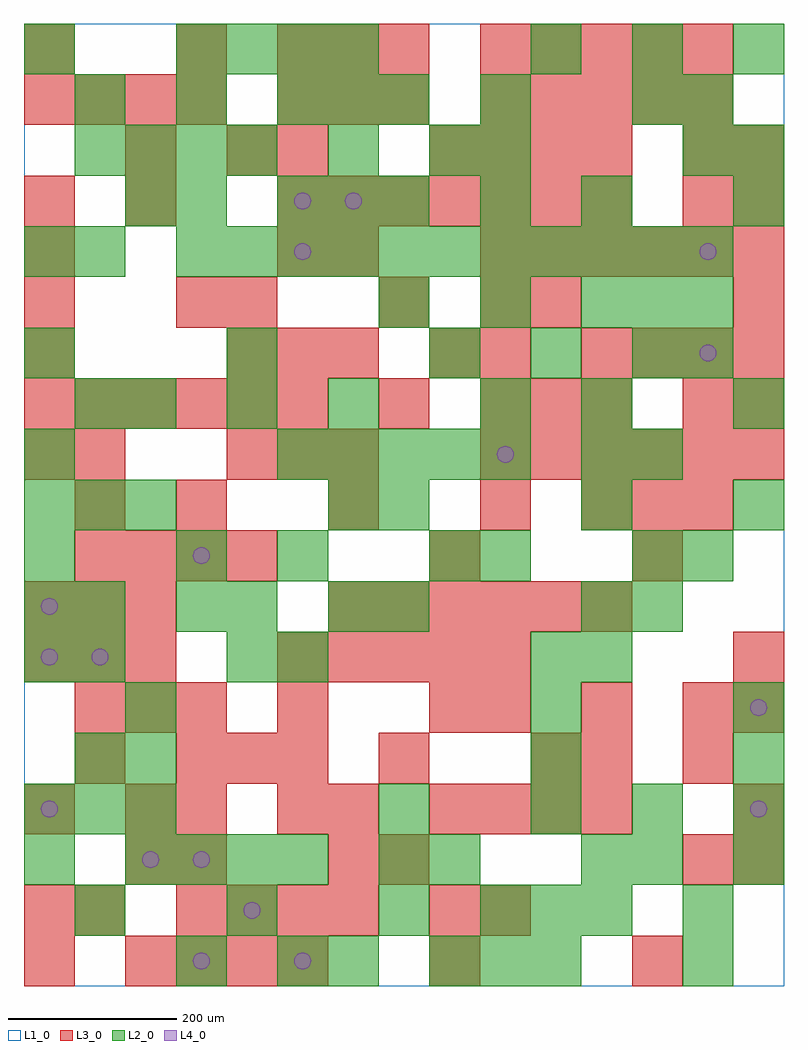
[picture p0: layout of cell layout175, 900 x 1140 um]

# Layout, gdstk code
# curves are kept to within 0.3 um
import gdstk
lib = gdstk.Library(unit=1e-6, precision=1e-09)
def R(c, l, rs):  # rectangles x0, y0, x1, y1
    for r in rs: c.add(gdstk.rectangle(r[:2], r[2:], *l))
def A(c, l, x, y, w, h, nx, ny, dx, dy):  # array of equal rectangles
    R(c, l, [(x+i*dx, y+j*dy, x+i*dx+w, y+j*dy+h) for i in range(nx) for j in range(ny)])
def P(c, l, *ps):  # polygons
    for p in ps: c.add(gdstk.Polygon(p, *l))
L1_0 = (1, 0)
L2_0 = (2, 0)
L3_0 = (3, 0)
L4_0 = (4, 0)

layout175 = lib.new_cell('layout175')
R(layout175, L1_0, [(0,0,900,1140)])
A(layout175, L2_0, 480, 0, 60, 60, 3, 1, 60, 0)
A(layout175, L2_0, 60, 60, 60, 60, 3, 1, 180, 0)
A(layout175, L2_0, 540, 60, 60, 60, 3, 1, 60, 0)
A(layout175, L2_0, 120, 120, 60, 60, 4, 1, 60, 0)
A(layout175, L2_0, 0, 180, 60, 60, 3, 2, 60, 360)
A(layout175, L2_0, 600, 180, 60, 60, 3, 2, 120, 900)
A(layout175, L2_0, 600, 240, 60, 60, 1, 3, 0, 60)
A(layout175, L2_0, 0, 360, 60, 60, 1, 3, 0, 60)
A(layout175, L2_0, 720, 480, 60, 60, 1, 3, 0, 120)
A(layout175, L2_0, 660, 540, 60, 60, 1, 3, 0, 60)
A(layout175, L2_0, 0, 600, 60, 60, 1, 3, 0, 240)
A(layout175, L2_0, 300, 600, 60, 60, 5, 1, 60, 0)
A(layout175, L2_0, 120, 660, 60, 60, 3, 1, 120, 0)
A(layout175, L2_0, 0, 720, 60, 60, 3, 1, 240, 0)
A(layout175, L2_0, 420, 780, 60, 60, 3, 1, 120, 0)
A(layout175, L2_0, 180, 840, 60, 60, 11, 1, 60, 0)
A(layout175, L2_0, 300, 900, 60, 60, 3, 1, 60, 0)
A(layout175, L2_0, 540, 900, 60, 60, 1, 3, 0, 60)
A(layout175, L2_0, 60, 960, 60, 60, 4, 1, 60, 0)
A(layout175, L2_0, 60, 1020, 60, 60, 3, 1, 120, 0)
A(layout175, L2_0, 180, 1080, 60, 60, 4, 1, 60, 0)
R(layout175, L2_0, [(180,0,240,60), (300,0,360,60), (360,0,420,60), (780,0,840,60), (780,60,840,120), (0,120,60,180), (420,120,480,180), (480,120,540,180), (660,120,720,180), (720,120,780,180), (840,120,900,180), (420,180,480,240), (60,240,120,300), (120,240,180,300), (840,240,900,300), (120,300,180,360), (840,300,900,360), (60,360,120,420), (240,360,300,420), (300,360,360,420), (660,360,720,420), (60,420,120,480), (180,420,240,480), (240,420,300,480), (360,420,420,480), (420,420,480,480), (660,420,720,480), (720,420,780,480), (180,480,240,540), (300,480,360,540), (480,480,540,540), (540,480,600,540), (780,480,840,540), (360,540,420,600), (420,540,480,600), (840,540,900,600), (60,660,120,720), (540,660,600,720), (840,660,900,720), (600,720,660,780), (780,720,840,780), (720,780,780,840), (780,780,840,840), (60,840,120,900), (120,900,180,960), (180,900,240,960), (660,900,720,960), (840,900,900,960), (360,960,420,1020), (480,960,540,1020), (780,960,840,1020), (840,960,900,1020), (360,1020,420,1080), (420,1020,480,1080), (720,1020,780,1080), (780,1020,840,1080)])
A(layout175, L3_0, 120, 0, 60, 60, 4, 1, 60, 0)
A(layout175, L3_0, 180, 60, 60, 60, 4, 1, 60, 0)
A(layout175, L3_0, 480, 180, 60, 60, 4, 2, 60, 780)
A(layout175, L3_0, 180, 240, 60, 60, 3, 1, 60, 0)
A(layout175, L3_0, 60, 300, 60, 60, 3, 1, 60, 0)
A(layout175, L3_0, 540, 300, 60, 60, 3, 1, 120, 0)
A(layout175, L3_0, 0, 360, 60, 60, 3, 2, 60, 60)
A(layout175, L3_0, 300, 360, 60, 60, 5, 1, 60, 0)
A(layout175, L3_0, 360, 420, 60, 60, 6, 1, 60, 0)
A(layout175, L3_0, 60, 480, 60, 60, 4, 1, 60, 0)
A(layout175, L3_0, 180, 540, 60, 60, 3, 1, 180, 0)
A(layout175, L3_0, 660, 540, 60, 60, 3, 1, 60, 0)
A(layout175, L3_0, 240, 600, 60, 60, 3, 2, 60, 120)
A(layout175, L3_0, 540, 600, 60, 60, 6, 2, 60, 240)
A(layout175, L3_0, 0, 660, 60, 60, 6, 1, 60, 0)
A(layout175, L3_0, 540, 660, 60, 60, 3, 1, 60, 0)
A(layout175, L3_0, 840, 660, 60, 60, 1, 3, 0, 120)
A(layout175, L3_0, 0, 720, 60, 60, 1, 4, 0, 60)
A(layout175, L3_0, 660, 720, 60, 60, 4, 1, 60, 0)
A(layout175, L3_0, 300, 900, 60, 60, 7, 1, 60, 0)
A(layout175, L3_0, 0, 1020, 60, 60, 4, 1, 60, 0)
A(layout175, L3_0, 300, 1020, 60, 60, 3, 2, 60, 60)
A(layout175, L3_0, 540, 1020, 60, 60, 5, 2, 60, 60)
R(layout175, L3_0, [(0,0,60,60), (480,0,540,60), (720,0,780,60), (0,60,60,120), (60,60,120,120), (480,60,540,120), (540,60,600,120), (120,120,180,180), (180,120,240,180), (360,120,420,180), (420,120,480,180), (780,120,840,180), (840,120,900,180), (0,180,60,240), (120,180,180,240), (180,180,240,240), (300,180,360,240), (360,180,420,240), (840,180,900,240), (60,240,120,300), (420,240,480,300), (600,240,660,300), (660,240,720,300), (780,240,840,300), (300,300,360,360), (480,300,540,360), (840,300,900,360), (840,360,900,420), (480,480,540,540), (720,480,780,540), (60,540,120,600), (0,600,60,660), (60,600,120,660), (420,660,480,720), (780,660,840,720), (480,720,540,780), (540,720,600,780), (180,780,240,840), (240,780,300,840), (420,780,480,840), (540,780,600,840), (600,780,660,840), (300,840,360,900), (360,840,420,900), (120,900,180,960), (780,900,840,960), (120,960,180,1020), (240,960,300,1020), (300,960,360,1020), (780,960,840,1020), (840,960,900,1020), (0,1080,60,1140), (180,1080,240,1140)])
P(layout175, L4_0, [(40,210),(39.239,213.827),(37.071,217.071),(33.827,219.239),(30,220),(26.173,219.239),(22.929,217.071),(20.761,213.827),(20,210),(20.761,206.173),(22.929,202.929),(26.173,200.761),(30,200),(33.827,200.761),(37.071,202.929),(39.239,206.173)],
  [(40,390),(39.239,393.827),(37.071,397.071),(33.827,399.239),(30,400),(26.173,399.239),(22.929,397.071),(20.761,393.827),(20,390),(20.761,386.173),(22.929,382.929),(26.173,380.761),(30,380),(33.827,380.761),(37.071,382.929),(39.239,386.173)],
  [(40,450),(39.239,453.827),(37.071,457.071),(33.827,459.239),(30,460),(26.173,459.239),(22.929,457.071),(20.761,453.827),(20,450),(20.761,446.173),(22.929,442.929),(26.173,440.761),(30,440),(33.827,440.761),(37.071,442.929),(39.239,446.173)],
  [(100,390),(99.239,393.827),(97.071,397.071),(93.827,399.239),(90,400),(86.173,399.239),(82.929,397.071),(80.761,393.827),(80,390),(80.761,386.173),(82.929,382.929),(86.173,380.761),(90,380),(93.827,380.761),(97.071,382.929),(99.239,386.173)],
  [(160,150),(159.239,153.827),(157.071,157.071),(153.827,159.239),(150,160),(146.173,159.239),(142.929,157.071),(140.761,153.827),(140,150),(140.761,146.173),(142.929,142.929),(146.173,140.761),(150,140),(153.827,140.761),(157.071,142.929),(159.239,146.173)],
  [(220,30),(219.239,33.827),(217.071,37.071),(213.827,39.239),(210,40),(206.173,39.239),(202.929,37.071),(200.761,33.827),(200,30),(200.761,26.173),(202.929,22.929),(206.173,20.761),(210,20),(213.827,20.761),(217.071,22.929),(219.239,26.173)],
  [(220,150),(219.239,153.827),(217.071,157.071),(213.827,159.239),(210,160),(206.173,159.239),(202.929,157.071),(200.761,153.827),(200,150),(200.761,146.173),(202.929,142.929),(206.173,140.761),(210,140),(213.827,140.761),(217.071,142.929),(219.239,146.173)],
  [(220,510),(219.239,513.827),(217.071,517.071),(213.827,519.239),(210,520),(206.173,519.239),(202.929,517.071),(200.761,513.827),(200,510),(200.761,506.173),(202.929,502.929),(206.173,500.761),(210,500),(213.827,500.761),(217.071,502.929),(219.239,506.173)],
  [(280,90),(279.239,93.827),(277.071,97.071),(273.827,99.239),(270,100),(266.173,99.239),(262.929,97.071),(260.761,93.827),(260,90),(260.761,86.173),(262.929,82.929),(266.173,80.761),(270,80),(273.827,80.761),(277.071,82.929),(279.239,86.173)],
  [(340,30),(339.239,33.827),(337.071,37.071),(333.827,39.239),(330,40),(326.173,39.239),(322.929,37.071),(320.761,33.827),(320,30),(320.761,26.173),(322.929,22.929),(326.173,20.761),(330,20),(333.827,20.761),(337.071,22.929),(339.239,26.173)],
  [(340,870),(339.239,873.827),(337.071,877.071),(333.827,879.239),(330,880),(326.173,879.239),(322.929,877.071),(320.761,873.827),(320,870),(320.761,866.173),(322.929,862.929),(326.173,860.761),(330,860),(333.827,860.761),(337.071,862.929),(339.239,866.173)],
  [(340,930),(339.239,933.827),(337.071,937.071),(333.827,939.239),(330,940),(326.173,939.239),(322.929,937.071),(320.761,933.827),(320,930),(320.761,926.173),(322.929,922.929),(326.173,920.761),(330,920),(333.827,920.761),(337.071,922.929),(339.239,926.173)],
  [(400,930),(399.239,933.827),(397.071,937.071),(393.827,939.239),(390,940),(386.173,939.239),(382.929,937.071),(380.761,933.827),(380,930),(380.761,926.173),(382.929,922.929),(386.173,920.761),(390,920),(393.827,920.761),(397.071,922.929),(399.239,926.173)],
  [(580,630),(579.239,633.827),(577.071,637.071),(573.827,639.239),(570,640),(566.173,639.239),(562.929,637.071),(560.761,633.827),(560,630),(560.761,626.173),(562.929,622.929),(566.173,620.761),(570,620),(573.827,620.761),(577.071,622.929),(579.239,626.173)],
  [(820,750),(819.239,753.827),(817.071,757.071),(813.827,759.239),(810,760),(806.173,759.239),(802.929,757.071),(800.761,753.827),(800,750),(800.761,746.173),(802.929,742.929),(806.173,740.761),(810,740),(813.827,740.761),(817.071,742.929),(819.239,746.173)],
  [(820,870),(819.239,873.827),(817.071,877.071),(813.827,879.239),(810,880),(806.173,879.239),(802.929,877.071),(800.761,873.827),(800,870),(800.761,866.173),(802.929,862.929),(806.173,860.761),(810,860),(813.827,860.761),(817.071,862.929),(819.239,866.173)],
  [(880,210),(879.239,213.827),(877.071,217.071),(873.827,219.239),(870,220),(866.173,219.239),(862.929,217.071),(860.761,213.827),(860,210),(860.761,206.173),(862.929,202.929),(866.173,200.761),(870,200),(873.827,200.761),(877.071,202.929),(879.239,206.173)],
  [(880,330),(879.239,333.827),(877.071,337.071),(873.827,339.239),(870,340),(866.173,339.239),(862.929,337.071),(860.761,333.827),(860,330),(860.761,326.173),(862.929,322.929),(866.173,320.761),(870,320),(873.827,320.761),(877.071,322.929),(879.239,326.173)])

lib.write_gds('layout175.gds')
